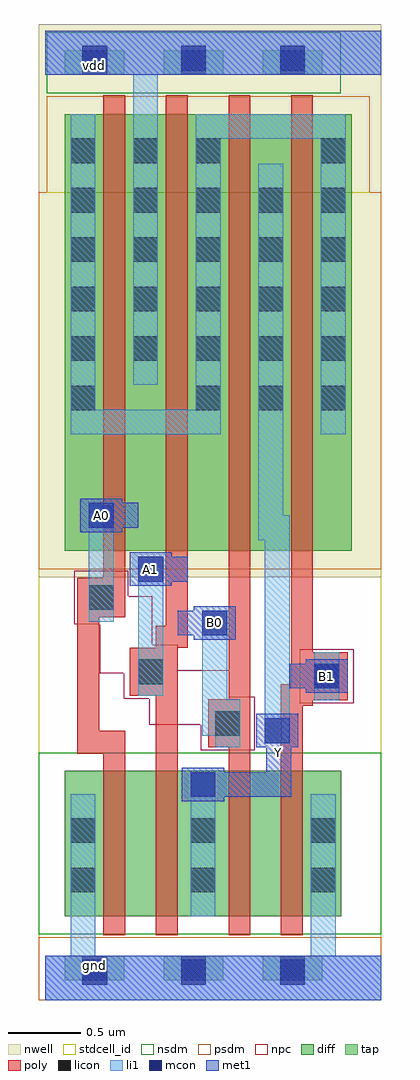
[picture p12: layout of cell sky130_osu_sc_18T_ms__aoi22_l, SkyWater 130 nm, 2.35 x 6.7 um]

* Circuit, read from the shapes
.subckt sky130_osu_sc_18T_ms__aoi22_l A0 A1 B0 B1 Y gnd vdd
XM1 n1 A0 gnd gnd sky130_fd_pr__nfet_01v8 w=1 l=0.15
XM2 Y A1 n1 gnd sky130_fd_pr__nfet_01v8 w=1 l=0.15
XM3 n2 B0 Y gnd sky130_fd_pr__nfet_01v8 w=1 l=0.15
XM4 gnd B1 n2 gnd sky130_fd_pr__nfet_01v8 w=1 l=0.15
XM5 vdd A0 n3 vdd sky130_fd_pr__pfet_01v8 w=3 l=0.15
XM6 n3 A1 vdd vdd sky130_fd_pr__pfet_01v8 w=3 l=0.15
XM7 Y B0 n3 vdd sky130_fd_pr__pfet_01v8 w=3 l=0.15
XM8 n3 B1 Y vdd sky130_fd_pr__pfet_01v8 w=3 l=0.15
.ends

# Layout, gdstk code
import gdstk
lib = gdstk.Library(unit=1e-6, precision=1e-09)
def R(c, l, rs):  # rectangles x0, y0, x1, y1
    for r in rs: c.add(gdstk.rectangle(r[:2], r[2:], *l))
def A(c, l, x, y, w, h, nx, ny, dx, dy):  # array of equal rectangles
    R(c, l, [(x+i*dx, y+j*dy, x+i*dx+w, y+j*dy+h) for i in range(nx) for j in range(ny)])
nwell = (64, 20)
diff = (65, 20)
tap = (65, 44)
poly = (66, 20)
licon = (66, 44)
li1 = (67, 20)
mcon = (67, 44)
met1 = (68, 20)
stdcell_id = (81, 4)
nsdm = (93, 44)
psdm = (94, 20)
npc = (95, 20)

sky130_osu_sc_18t_ms__ao = lib.new_cell('sky130_osu_sc_18T_ms__aoi22_l')
R(sky130_osu_sc_18t_ms__ao, nwell, [(-0.045,2.905,2.31,6.705)])
R(sky130_osu_sc_18t_ms__ao, diff, [(0.135,0.575,2.035,1.575), (0.135,3.085,2.105,6.085)])
A(sky130_osu_sc_18t_ms__ao, tap, 0.135, 0.135, 0.41, 0.17, 3, 2, 0.68, 6.22)
R(sky130_osu_sc_18t_ms__ao, poly, [(0.4,0.445,0.55,1.69), (0.76,0.445,0.91,2.09), (1.26,0.445,1.41,1.735), (1.62,0.445,1.77,2.02), (0.22,1.69,0.55,1.85), (1.12,1.735,1.41,2.065), (0.22,1.85,0.37,2.63), (1.62,2.02,1.84,2.06), (1.62,2.06,2.08,2.17), (1.26,2.065,1.41,6.215), (0.58,2.09,0.91,2.42), (1.69,2.17,2.08,2.39), (1.69,2.39,1.84,6.215), (0.76,2.42,0.98,2.57), (0.83,2.57,0.98,6.215), (0.22,2.63,0.55,2.9), (0.4,2.9,0.55,6.215)])
A(sky130_osu_sc_18t_ms__ao, licon, 0.255, 0.135, 0.17, 0.17, 3, 2, 0.68, 6.22)
A(sky130_osu_sc_18t_ms__ao, licon, 0.175, 0.74, 0.17, 0.17, 3, 2, 0.825, 0.34)
A(sky130_osu_sc_18t_ms__ao, licon, 1.035, 4.05, 0.17, 0.17, 3, 1, 0.43, 0)
A(sky130_osu_sc_18t_ms__ao, licon, 0.175, 4.39, 0.17, 0.17, 5, 4, 0.43, 0.34)
A(sky130_osu_sc_18t_ms__ao, licon, 0.175, 5.75, 0.17, 0.17, 3, 1, 0.43, 0)
R(sky130_osu_sc_18t_ms__ao, licon, [(1.17,1.815,1.34,1.985), (1.85,2.14,2.02,2.31), (0.64,2.17,0.81,2.34), (0.3,2.68,0.47,2.85), (0.175,4.05,0.345,4.22), (1.895,5.75,2.065,5.92)])
R(sky130_osu_sc_18t_ms__ao, li1, [(0,0,2.31,0.305), (0.175,0.305,0.345,1.415), (1.825,0.305,1.995,1.415), (1,0.575,1.17,1.565), (1.17,1.735,1.34,1.815), (1.51,1.765,1.68,3.16), (1.08,1.815,1.34,2.065), (1.85,2.06,2.02,2.39), (1.08,2.065,1.25,2.675), (0.64,2.09,0.81,3.045), (0.3,2.6,0.47,3.415), (1.465,3.16,1.68,3.33), (1.465,3.33,1.635,5.745), (0.175,3.885,1.205,4.055), (1.895,3.885,2.065,5.915), (0.175,4.055,0.345,6.085), (1.035,4.055,1.205,5.915), (0.605,4.225,0.775,6.355), (1.035,5.915,2.065,6.085), (0,6.355,2.31,6.66)])
A(sky130_osu_sc_18t_ms__ao, mcon, 0.255, 0.105, 0.17, 0.17, 3, 2, 0.68, 6.28)
R(sky130_osu_sc_18t_ms__ao, mcon, [(1,1.395,1.17,1.565), (1.51,1.765,1.68,1.935), (1.85,2.14,2.02,2.31), (1.08,2.505,1.25,2.675), (0.64,2.875,0.81,3.045), (0.3,3.245,0.47,3.415)])
R(sky130_osu_sc_18t_ms__ao, met1, [(0,0,2.31,0.305), (0.94,1.365,1.23,1.395), (0.94,1.395,1.69,1.565), (0.94,1.565,1.23,1.595), (1.52,1.565,1.69,1.735), (1.45,1.735,1.74,1.965), (1.79,2.11,2.08,2.14), (1.68,2.14,2.08,2.31), (1.79,2.31,2.08,2.34), (1.02,2.475,1.31,2.505), (0.91,2.505,1.31,2.675), (1.02,2.675,1.31,2.705), (0.58,2.845,0.87,2.875), (0.58,2.875,0.98,3.045), (0.58,3.045,0.87,3.075), (0.24,3.215,0.53,3.245), (0.24,3.245,0.64,3.415), (0.24,3.415,0.53,3.445), (0,6.355,2.31,6.66)])
R(sky130_osu_sc_18t_ms__ao, stdcell_id, [(-0.045,0,2.31,5.55)])
R(sky130_osu_sc_18t_ms__ao, nsdm, [(-0.045,0.45,2.31,1.7), (0.01,6.23,2.03,6.65)])
R(sky130_osu_sc_18t_ms__ao, psdm, [(-0.045,0,2.31,0.43), (-0.045,2.96,2.31,5.55), (0.01,5.55,2.23,6.21)])
R(sky130_osu_sc_18t_ms__ao, npc, [(1.07,1.715,1.44,1.89), (0.715,1.89,1.44,2.07), (1.75,2.04,2.12,2.41), (0.54,2.07,1.44,2.085), (0.54,2.085,1.265,2.245), (0.375,2.245,1.265,2.265), (0.375,2.265,0.91,2.44), (0.375,2.44,0.735,2.58), (0.2,2.58,0.735,2.775), (0.2,2.775,0.57,2.95)])
sky130_osu_sc_18t_ms__ao.add(gdstk.Label('gnd', (0.34,0.24), layer=68, texttype=16))
sky130_osu_sc_18t_ms__ao.add(gdstk.Label('vdd', (0.34,6.42), layer=68, texttype=16))
sky130_osu_sc_18t_ms__ao.add(gdstk.Label('A0', (0.385,3.33), layer=68, texttype=5))
sky130_osu_sc_18t_ms__ao.add(gdstk.Label('B0', (1.165,2.59), layer=68, texttype=5))
sky130_osu_sc_18t_ms__ao.add(gdstk.Label('A1', (0.725,2.96), layer=68, texttype=5))
sky130_osu_sc_18t_ms__ao.add(gdstk.Label('B1', (1.935,2.225), layer=68, texttype=5))
sky130_osu_sc_18t_ms__ao.add(gdstk.Label('Y', (1.605,1.7), layer=68, texttype=5))

lib.write_gds('sky130_osu_sc_18T_ms__aoi22_l.gds')
